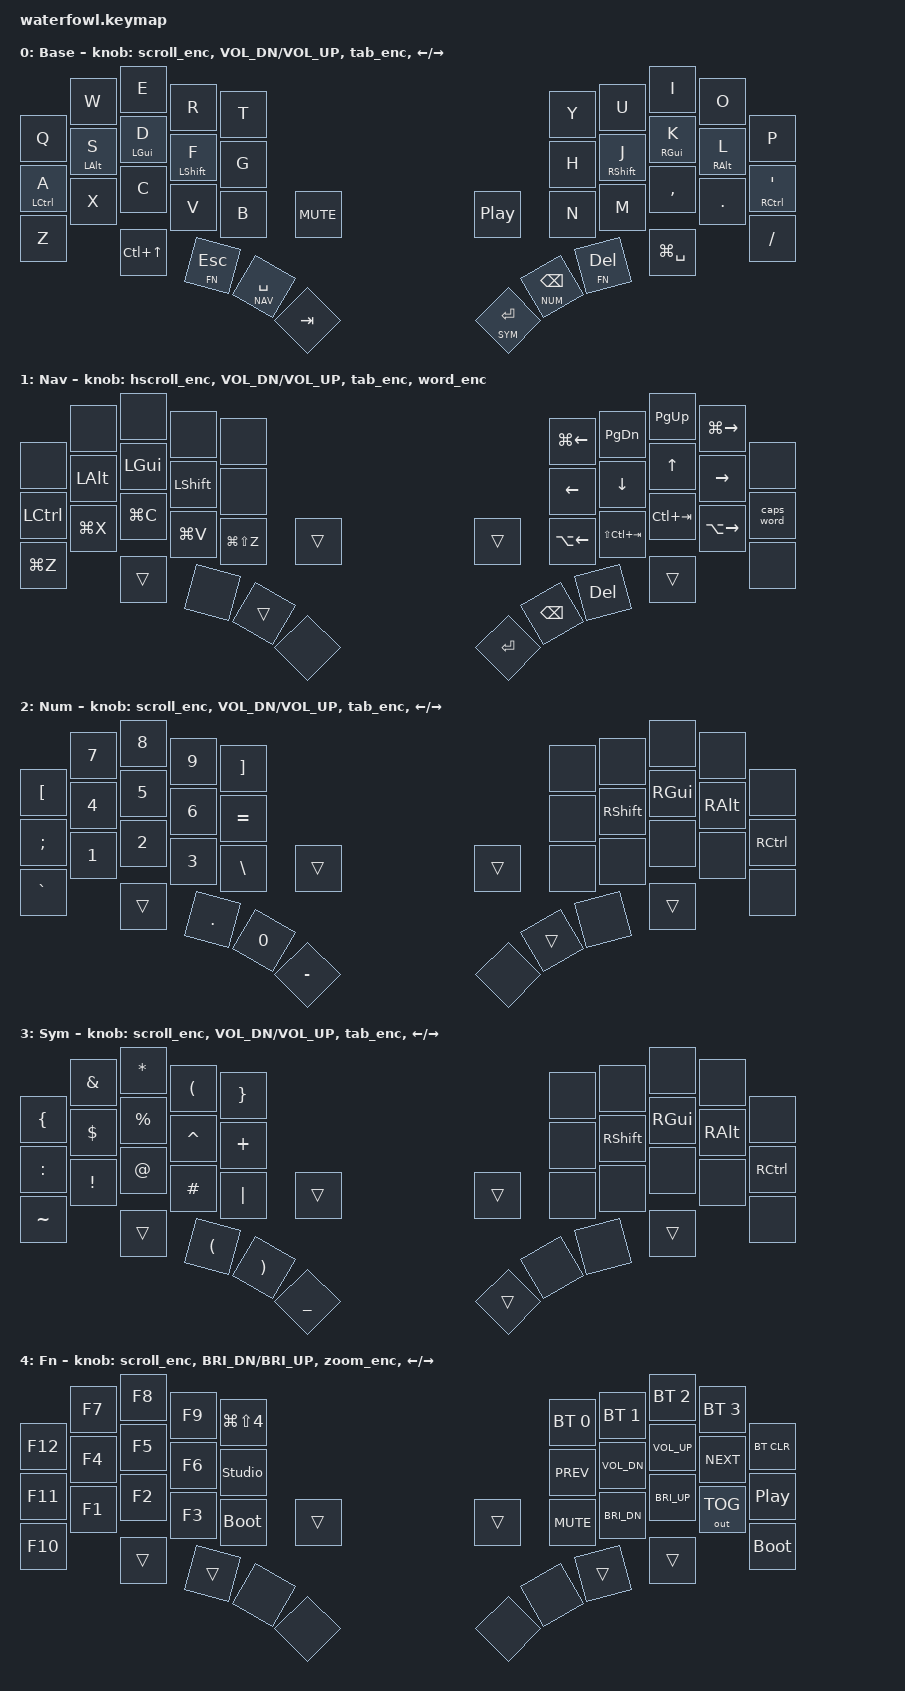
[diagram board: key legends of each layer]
/*
 * Waterfowl keymap for macOS.
 *
 * GENERATED by tools/build_keymap.py from config/keymap.json, which the
 * keymap editor page saves. Change the layout there, not here.
 *
 * Each layer has 40 bindings, laid out as on the board:
 *   10 top row  |  10 home row  |  10 bottom row
 *   L roller press, L thumbs (outer, middle, inner), L dial press |
 *   R dial press, R thumbs (inner, middle, outer), R roller press
 *
 * sensor-bindings are the rotations, in order:
 *   left roller, left dial, right dial, right roller
 * The rollers spin side to side.
 */

#include <behaviors.dtsi>
#include <dt-bindings/zmk/keys.h>
#include <dt-bindings/zmk/bt.h>
#include <dt-bindings/zmk/outputs.h>
#include <dt-bindings/zmk/pointing.h>

#define BASE  0
#define NAV   1
#define NUM   2
#define SYM   3
#define FN    4

// Key positions, for home-row mods that only trigger with the other hand.
#define KEYS_L 0 1 2 3 4 10 11 12 13 14 20 21 22 23 24
#define KEYS_R 5 6 7 8 9 15 16 17 18 19 25 26 27 28 29
#define THUMBS 30 31 32 33 34 35 36 37 38 39

// macOS shortcuts used by the roller and dial behaviours below
#define MAC_UNDO  LG(Z)
#define MAC_REDO  LG(LS(Z))
#define WORD_BCK  LA(LEFT)
#define WORD_FWD  LA(RIGHT)
#define TAB_PREV  LC(LS(TAB))
#define TAB_NEXT  LC(TAB)

// One roller click = one scroll step. Each click is a 30 ms tap and mouse
// scrolling runs in 16 ms ticks, so the speed has to cover a whole step in one
// tick (63 x 16 / 1000 = 1); ZMK's default of 10 never adds up to a step.
#define ROLLER_SCROLL 63

// Thumb keys (layer-taps) and tap-and-hold modifiers off the home row.
&lt {
    tapping-term-ms = <200>;
    quick-tap-ms = <175>;
};

&mt {
    tapping-term-ms = <200>;
    quick-tap-ms = <175>;
};

/ {
    // Studio needs the physical layout from waterfowl_layout.dtsi, so drop the
    // stock shield's matrix-transform here (keymaps load after shield files).
    chosen {
        /delete-property/ zmk,matrix-transform;
    };

    behaviors {
        // "Timeless" home-row mods: a mod only triggers when the next key is on
        // the other hand, and never in the middle of a fast run of typing.
        hml: homerow_mods_left {
            compatible = "zmk,behavior-hold-tap";
            display-name = "Home Row Mod (left)";
            #binding-cells = <2>;
            flavor = "balanced";
            tapping-term-ms = <280>;
            quick-tap-ms = <175>;
            require-prior-idle-ms = <150>;
            bindings = <&kp>, <&kp>;
            hold-trigger-key-positions = <KEYS_R THUMBS>;
            hold-trigger-on-release;
        };

        hmr: homerow_mods_right {
            compatible = "zmk,behavior-hold-tap";
            display-name = "Home Row Mod (right)";
            #binding-cells = <2>;
            flavor = "balanced";
            tapping-term-ms = <280>;
            quick-tap-ms = <175>;
            require-prior-idle-ms = <150>;
            bindings = <&kp>, <&kp>;
            hold-trigger-key-positions = <KEYS_L THUMBS>;
            hold-trigger-on-release;
        };

        hscroll_enc: hscroll_encoder {
            compatible = "zmk,behavior-sensor-rotate";
            #sensor-binding-cells = <0>;
            bindings = <&msc MOVE_X(ROLLER_SCROLL)>, <&msc MOVE_X(-ROLLER_SCROLL)>;
            tap-ms = <30>;
        };

        scroll_enc: scroll_encoder {
            compatible = "zmk,behavior-sensor-rotate";
            #sensor-binding-cells = <0>;
            bindings = <&msc MOVE_Y(-ROLLER_SCROLL)>, <&msc MOVE_Y(ROLLER_SCROLL)>;
            tap-ms = <30>;
        };

        tab_enc: tab_encoder {
            compatible = "zmk,behavior-sensor-rotate";
            #sensor-binding-cells = <0>;
            bindings = <&kp TAB_NEXT>, <&kp TAB_PREV>;
        };

        word_enc: word_encoder {
            compatible = "zmk,behavior-sensor-rotate";
            #sensor-binding-cells = <0>;
            bindings = <&kp WORD_FWD>, <&kp WORD_BCK>;
        };

        zoom_enc: zoom_encoder {
            compatible = "zmk,behavior-sensor-rotate";
            #sensor-binding-cells = <0>;
            bindings = <&kp LG(EQUAL)>, <&kp LG(MINUS)>;
        };

    };

    keymap {
        compatible = "zmk,keymap";

        base_layer {
            display-name = "Base";
/*
 *  Q        W        E        R        T          Y        U        I        O        P
 *  A/Ctrl   S/Opt    D/Cmd    F/Shift  G          H        J/Shift  K/Cmd    L/Opt    SQT/Ctrl
 *  Z        X        C        V        B          N        M        COMMA    DOT      FSLH
 *  Ctrl+UP  ESC/fn   SPACE/nav TAB      C_MUTE     C_PP     RET/sym  BSPC/num DEL/fn   Cmd+SPACE
 */
            bindings = <
    &kp Q            &kp W            &kp E            &kp R            &kp T             &kp Y            &kp U            &kp I            &kp O            &kp P
    &hml LCTRL A     &hml LALT S      &hml LGUI D      &hml LSHFT F     &kp G             &kp H            &hmr RSHFT J     &hmr RGUI K      &hmr RALT L      &hmr RCTRL SQT
    &kp Z            &kp X            &kp C            &kp V            &kp B             &kp N            &kp M            &kp COMMA        &kp DOT          &kp FSLH
    &kp LC(UP)       &lt FN ESC       &lt NAV SPACE    &kp TAB          &kp C_MUTE        &kp C_PP         &lt SYM RET      &lt NUM BSPC     &lt FN DEL       &kp LG(SPACE)
            >;

            sensor-bindings = <&scroll_enc &inc_dec_kp C_VOL_DN C_VOL_UP &tab_enc &inc_dec_kp LEFT RIGHT>;
        };

        nav_layer {
            display-name = "Nav";
/*
 *  x        x        x        x        x          Cmd+LEFT PG_DN    PG_UP    Cmd+RIGHT x
 *  Ctrl     Opt      Cmd      Shift    x          LEFT     DOWN     UP       RIGHT    capsword
 *  Cmd+Z    Cmd+X    Cmd+C    Cmd+V    Cmd+Shift+Z   Opt+LEFT Ctrl+Shift+TAB Ctrl+TAB Opt+RIGHT x
 *  -        x        -        x        -          -        RET      BSPC     DEL      -
 */
            bindings = <
    &none            &none            &none            &none            &none             &kp LG(LEFT)     &kp PG_DN        &kp PG_UP        &kp LG(RIGHT)    &none
    &kp LCTRL        &kp LALT         &kp LGUI         &kp LSHFT        &none             &kp LEFT         &kp DOWN         &kp UP           &kp RIGHT        &caps_word
    &kp LG(Z)        &kp LG(X)        &kp LG(C)        &kp LG(V)        &kp LG(LS(Z))     &kp LA(LEFT)     &kp LS(LC(TAB))  &kp LC(TAB)      &kp LA(RIGHT)    &none
    &trans           &none            &trans           &none            &trans            &trans           &kp RET          &kp BSPC         &kp DEL          &trans
            >;

            sensor-bindings = <&hscroll_enc &inc_dec_kp C_VOL_DN C_VOL_UP &tab_enc &word_enc>;
        };

        num_layer {
            display-name = "Num";
/*
 *  LBKT     7        8        9        RBKT       x        x        x        x        x
 *  SEMI     4        5        6        EQUAL      x        Shift    Cmd      Opt      Ctrl
 *  GRAVE    1        2        3        BSLH       x        x        x        x        x
 *  -        DOT      0        MINUS    -          -        x        -        x        -
 */
            bindings = <
    &kp LBKT         &kp N7           &kp N8           &kp N9           &kp RBKT          &none            &none            &none            &none            &none
    &kp SEMI         &kp N4           &kp N5           &kp N6           &kp EQUAL         &none            &kp RSHFT        &kp RGUI         &kp RALT         &kp RCTRL
    &kp GRAVE        &kp N1           &kp N2           &kp N3           &kp BSLH          &none            &none            &none            &none            &none
    &trans           &kp DOT          &kp N0           &kp MINUS        &trans            &trans           &none            &trans           &none            &trans
            >;

            sensor-bindings = <&scroll_enc &inc_dec_kp C_VOL_DN C_VOL_UP &tab_enc &inc_dec_kp LEFT RIGHT>;
        };

        sym_layer {
            display-name = "Sym";
/*
 *  LBRC     AMPS     STAR     LPAR     RBRC       x        x        x        x        x
 *  COLON    DLLR     PRCNT    CARET    PLUS       x        Shift    Cmd      Opt      Ctrl
 *  TILDE    EXCL     AT       HASH     PIPE       x        x        x        x        x
 *  -        LPAR     RPAR     UNDER    -          -        -        x        x        -
 */
            bindings = <
    &kp LBRC         &kp AMPS         &kp STAR         &kp LPAR         &kp RBRC          &none            &none            &none            &none            &none
    &kp COLON        &kp DLLR         &kp PRCNT        &kp CARET        &kp PLUS          &none            &kp RSHFT        &kp RGUI         &kp RALT         &kp RCTRL
    &kp TILDE        &kp EXCL         &kp AT           &kp HASH         &kp PIPE          &none            &none            &none            &none            &none
    &trans           &kp LPAR         &kp RPAR         &kp UNDER        &trans            &trans           &trans           &none            &none            &trans
            >;

            sensor-bindings = <&scroll_enc &inc_dec_kp C_VOL_DN C_VOL_UP &tab_enc &inc_dec_kp LEFT RIGHT>;
        };

        fn_layer {
            display-name = "Fn";
/*
 *  F12      F7       F8       F9       Cmd+Shift+4   BT1      BT2      BT3      BT4      BTclr
 *  F11      F4       F5       F6       studio     C_PREV   C_VOL_DN C_VOL_UP C_NEXT   C_PP
 *  F10      F1       F2       F3       bootloader   C_MUTE   C_BRI_DN C_BRI_UP usbbt    bootloader
 *  -        -        x        x        -          -        x        x        -        -
 */
            bindings = <
    &kp F12          &kp F7           &kp F8           &kp F9           &kp LG(LS(N4))    &bt BT_SEL 0     &bt BT_SEL 1     &bt BT_SEL 2     &bt BT_SEL 3     &bt BT_CLR
    &kp F11          &kp F4           &kp F5           &kp F6           &studio_unlock    &kp C_PREV       &kp C_VOL_DN     &kp C_VOL_UP     &kp C_NEXT       &kp C_PP
    &kp F10          &kp F1           &kp F2           &kp F3           &bootloader       &kp C_MUTE       &kp C_BRI_DN     &kp C_BRI_UP     &out OUT_TOG     &bootloader
    &trans           &trans           &none            &none            &trans            &trans           &none            &none            &trans           &trans
            >;

            sensor-bindings = <&scroll_enc &inc_dec_kp C_BRI_DN C_BRI_UP &zoom_enc &inc_dec_kp LEFT RIGHT>;
        };

        // Spare layers for ZMK Studio.
        extra1 {
            status = "reserved";
        };

        extra2 {
            status = "reserved";
        };

        extra3 {
            status = "reserved";
        };
    };
};
